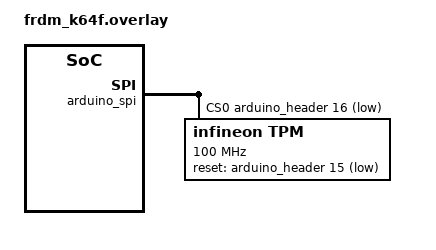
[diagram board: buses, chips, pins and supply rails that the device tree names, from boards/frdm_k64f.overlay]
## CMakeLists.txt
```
cmake_minimum_required(VERSION 3.13.1)

include($ENV{ZEPHYR_BASE}/cmake/app/boilerplate.cmake NO_POLICY_SCOPE)
project(zephyr-tpm2-poc)

target_sources(app PRIVATE
  src/main.c
)
```

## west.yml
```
manifest:
  remotes:
    - name: zephyrproject-rtos
      url-base: https://github.com/zephyrproject-rtos

    - name: anticat
      url-base: https://github.com/drandreas

    - name: tpm2-software
      url-base: https://github.com/tpm2-software

  projects:
    - name: cmsis
      remote: zephyrproject-rtos
      revision: c3bd2094f92d574377f7af2aec147ae181aa5f8e
      path: modules/hal/cmsis

    - name: hal_nxp
      remote: zephyrproject-rtos
      revision: b916bca1d5976b0157be80b326e3bb46ef605286
      path: modules/hal/nxp

    - name: segger
      remote: zephyrproject-rtos
      revision: 38c79a447e4a47d413b4e8d34448316a5cece77c
      path: modules/debug/segger

    - name: hal_nordic
      remote: zephyrproject-rtos
      revision: f0d54d8449acbee49b3cebcef0e3e56640c50277
      path: modules/hal/nordic

    - name: mbedtls
      remote: zephyrproject-rtos
      revision: 24d84ecff195fb15c889d9046e44e4804d626c67
      path: modules/crypto/mbedtls

    - name: zephyr
      remote: zephyrproject-rtos
      revision: 1a0156d68b6b2c6a12b10d81f5ab03c2bd4030fa
      path: zephyr
      west-commands: scripts/west-commands.yml

    - name: tpm-tis-spi
      remote: anticat
      revision: e633187983c8bb0ab4f07b6036c993a4ddb81176
      path: modules/drv/tpm-tis-spi

    - name: tpm2-tss
      remote: tpm2-software
      revision: a5c54dfb672f83ca2a61e1c6f96160eb7312b93d
      path: modules/lib/tpm2-tss/import

    - name: tpm2-tss-zephyr
      remote: anticat
      revision: fa28200056c595d32cf00ab1d184914b41faa103
      path: modules/lib/tpm2-tss

  self:
      path: zephyr-tpm2-poc
```

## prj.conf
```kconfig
# Enable general OS and libc features
CONFIG_NEWLIB_LIBC=y
CONFIG_CONSOLE=y
CONFIG_UART_CONSOLE=y
CONFIG_BUILD_OUTPUT_HEX=y

# Generic networking options
CONFIG_NETWORKING=y
CONFIG_NET_TCP=y
CONFIG_NET_SOCKETS=y

# Network buffers
CONFIG_NET_PKT_RX_COUNT=16
CONFIG_NET_PKT_TX_COUNT=16
CONFIG_NET_BUF_RX_COUNT=64
CONFIG_NET_BUF_TX_COUNT=64

# Enable TLS Secure Sockets
CONFIG_POSIX_MAX_FDS=8
CONFIG_NET_SOCKETS_POSIX_NAMES=y
CONFIG_NET_SOCKETS_SOCKOPT_TLS=y
CONFIG_NET_SOCKETS_TLS_MAX_CONTEXTS=2

# Enable TPM
CONFIG_SPI=y
CONFIG_TPM_TIS_SPI=y
CONFIG_TPM2_TSS_TCTI=y
CONFIG_TPM2_TSS_MU=y
CONFIG_TPM2_TSS_SAPI=y
CONFIG_TPM2_TSS_ESAPI=y

# Use TPM for ECDSA Server Authentication
CONFIG_MBEDTLS_ECDSA_ALT_TPM=y

# Enable Shell for Network access
CONFIG_SHELL=y
CONFIG_NET_SHELL=y

# Enable loging facility (be carefull space, exec time)
# Manual: https://docs.zephyrproject.org/latest/reference/logging/index.html
CONFIG_LOG=y
CONFIG_LOG_BUFFER_SIZE=4096
CONFIG_LOG_STRDUP_BUF_COUNT=32

# Increase stack size
CONFIG_MAIN_STACK_SIZE=8192
CONFIG_HW_STACK_PROTECTION=y

# Enable Crypto Libraries
CONFIG_MBEDTLS=y
CONFIG_MBEDTLS_ENTROPY_ENABLED=y
CONFIG_MBEDTLS_TLS_VERSION_1_2=y
CONFIG_MBEDTLS_KEY_EXCHANGE_ALL_ENABLED=y
CONFIG_MBEDTLS_ECP_ALL_ENABLED=y
CONFIG_MBEDTLS_CIPHER_ALL_ENABLED=y
CONFIG_MBEDTLS_MAC_ALL_ENABLED=y
CONFIG_MBEDTLS_PEM_CERTIFICATE_FORMAT=y
```

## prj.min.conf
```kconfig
# Enable general OS and libc features
CONFIG_NEWLIB_LIBC=y
CONFIG_CONSOLE=n
CONFIG_UART_CONSOLE=n
CONFIG_BUILD_OUTPUT_HEX=y

# Generic networking options
CONFIG_NETWORKING=y
CONFIG_NET_TCP=y
CONFIG_NET_SOCKETS=y

# Network buffers
CONFIG_NET_PKT_RX_COUNT=16
CONFIG_NET_PKT_TX_COUNT=16
CONFIG_NET_BUF_RX_COUNT=64
CONFIG_NET_BUF_TX_COUNT=64

# Enable TLS Secure Sockets
CONFIG_POSIX_MAX_FDS=8
CONFIG_NET_SOCKETS_POSIX_NAMES=y
CONFIG_NET_SOCKETS_SOCKOPT_TLS=y
CONFIG_NET_SOCKETS_TLS_MAX_CONTEXTS=2

# Enable TPM
CONFIG_SPI=y
CONFIG_TPM_TIS_SPI=y
CONFIG_TPM2_TSS_TCTI=y
CONFIG_TPM2_TSS_MU=y
CONFIG_TPM2_TSS_SAPI=y
CONFIG_TPM2_TSS_ESAPI=y

# Use TPM for ECDSA Server Authentication
CONFIG_MBEDTLS_ECDSA_ALT_TPM=y

# Increase stack size
CONFIG_MAIN_STACK_SIZE=8192
CONFIG_HW_STACK_PROTECTION=y

# Enable Crypto Libraries
CONFIG_MBEDTLS=y
CONFIG_MBEDTLS_ENTROPY_ENABLED=y
CONFIG_MBEDTLS_TLS_VERSION_1_2=y
CONFIG_MBEDTLS_KEY_EXCHANGE_ECDHE_ECDSA_ENABLED=y
CONFIG_MBEDTLS_ECP_ALL_ENABLED=y
CONFIG_MBEDTLS_PEM_CERTIFICATE_FORMAT=y
```

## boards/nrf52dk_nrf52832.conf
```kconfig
# NRF52832 has only 64 KiB of RAM
CONFIG_NET_PKT_RX_COUNT=4
CONFIG_NET_PKT_TX_COUNT=4
CONFIG_NET_BUF_RX_COUNT=16
CONFIG_NET_BUF_TX_COUNT=16

CONFIG_LOG_BUFFER_SIZE=1024
CONFIG_LOG_STRDUP_BUF_COUNT=4
```

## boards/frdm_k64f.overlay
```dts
// Resize storage to 64KiB
/delete-node/ &storage_partition;

&flash0 {
	partitions {
		storage_partition: partition@80000 {
			label = "storage";
			reg = <0x00080000 0x00080000>;
		};
	};
};

&arduino_spi {
	cs-gpios = <&arduino_header 16 GPIO_ACTIVE_LOW>;

	spi_tpm: tpm@0 {
		compatible = "infineon,tpm";
		reg = <0>;
		label = "tpm";
		spi-max-frequency = <100000000>;
		reset-gpios = <&arduino_header 15 GPIO_ACTIVE_LOW>;
	};
};
```

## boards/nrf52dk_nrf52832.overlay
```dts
&arduino_spi {
	cs-gpios = <&arduino_header 16 GPIO_ACTIVE_LOW>;

	spi_tpm: tpm@0 {
		compatible = "infineon,tpm";
		reg = <0>;
		label = "tpm";
		spi-max-frequency = <100000000>;
		reset-gpios = <&arduino_header 15 GPIO_ACTIVE_LOW>;
	};
};
```

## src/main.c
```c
#include <logging/log.h>
#include <random/rand32.h>

#if CONFIG_BOARD_FRDM_K64F
#include <fsl_port.h>
#include <drivers/pinmux.h>
#endif

#include <net/socket.h>
#include <net/tls_credentials.h>

#include <mbedtls/pem.h>
#include <mbedtls/x509_csr.h>
#include <mbedtls/tpm-utils.h>

#include <stdio.h>

// Loglevel of main function
LOG_MODULE_REGISTER(tpm2, LOG_LEVEL_DBG);

// Certificate and Key
#define SERVER_CERTIFICATE_TAG 1

static const char ca_certificate[] =
  "-----BEGIN CERTIFICATE-----\r\n"
  "MIIBqTCCAS+gAwIBAgIBADAKBggqhkjOPQQDAjAVMRMwEQYDVQQDDApUUE0tUG9D\r\n"
  "IENBMB4XDTIwMDEwMTAwMDAwMFoXDTMwMDEwMTAwMDAwMFowFTETMBEGA1UEAwwK\r\n"
  "VFBNLVBvQyBDQTB2MBAGByqGSM49AgEGBSuBBAAiA2IABD7i3xfIQVr9WEugrfXf\r\n"
  "DTJNzqwOLqZoPaEXiFGo9J1JDkHrMftJAv2KWhebATNYS9EzN8hffc0/fz+cv8qr\r\n"
  "pfFqu9J+eoGkax0lQS1dRR+I40X6QZ0c4+cuk6CGowiyVqNTMFEwHQYDVR0OBBYE\r\n"
  "FDFm5sVrTGo3eZQ9OjlU6qPZ1bIKMB8GA1UdIwQYMBaAFDFm5sVrTGo3eZQ9OjlU\r\n"
  "6qPZ1bIKMA8GA1UdEwEB/wQFMAMBAf8wCgYIKoZIzj0EAwIDaAAwZQIxAN5/2ZCM\r\n"
  "R7vurAPiQGkfE5o69yYClmHZbQHJyZF5afSf5OJhce04kCrUKtyQOcgYfQIwWqud\r\n"
  "9h7syP1e17rXfIK7nfrRdu4IZjdGyIcgu3rM2C4bBuoDcqxZbbSlHiZDmoX6\r\n"
  "-----END CERTIFICATE-----\r\n";

static const char server_certificate[] = "";

// This Private key is needed to make Zephyr's secure socket code happy
// The key can be arbitrary as long as it belongs to the P-256 curve.
static const char private_key[] =
  "-----BEGIN PRIVATE KEY-----\r\n"
  "MIGHAgEAMBMGByqGSM49AgEGCCqGSM49AwEHBG0wawIBAQQguFQIs7wj7F0TOF9p\r\n"
  "IjAO13TNoVz6uhgq7F0WBex6+yihRANCAASPpRIl7cNR85WpA1AELRhT7EhD3EU2\r\n"
  "9b8k9q2dwRbN6lXaf8YXvm0rTYWtHM25iaSA+oUtb6KwIzzDJiXMndKx\r\n"
  "-----END PRIVATE KEY-----\r\n";

static const char tpm_blob[] = "";

// Glue mbedTLS entropy source to K64 RNG (nxp,kinetis-rnga)
int mbedtls_hardware_poll(void *data, unsigned char *output, size_t len, size_t *olen ) {
  (void)data;
  *olen = 0;

  if(sys_csrand_get(output, len) != 0) {
    return -1;
  }

  *olen = len;
  return 0;
}

static int get_random(void* context, unsigned char *buffer, size_t buf_size) {
  (void)context;

  if(sys_csrand_get(buffer, buf_size) != 0) {
    return -EIO;
  }

  return buf_size;
}

#if CONFIG_BOARD_FRDM_K64F
// Change K64's CS-Pin to GPIO (SPI HW-CS releases pin to early)
static int pinmux_reconfigure(const struct device *dev) {
  pinmux_pin_set(device_get_binding(DT_LABEL(DT_NODELABEL(portd))),
                 DT_SPI_DEV_CS_GPIOS_PIN(DT_NODELABEL(spi_tpm)),
                 PORT_PCR_MUX(kPORT_MuxAsGpio));
  return 0;
}
SYS_INIT(pinmux_reconfigure, POST_KERNEL, CONFIG_KERNEL_INIT_PRIORITY_DEVICE);
#endif

static void setup() {
  int ret = 0;

  puts("Server CRT or TPM Blob not compiled in, Creating CSR");

  ret = tpm_generate_ec_keypair(tpm_get_ec_keypair_ptr());
  if(ret != 0) {
    LOG_ERR("Failed to generate ec keypair");
    return;
  }

  // Output TPM Blob
  char der_buf[512];
  size_t der_len = sizeof(der_buf);
  ret = tpm_store_keypair_der(tpm_get_ec_keypair_ptr(), der_buf, &der_len);
  if(ret < 0) {
    LOG_ERR("Failed to store ec keypair");
    return;
  }

  char pem_buf[512];
  memset(pem_buf, 0, sizeof(pem_buf));
  size_t pem_len = 0;
  char* p = &der_buf[0];
  ret = mbedtls_pem_write_buffer("-----BEGIN TSS2 PRIVATE KEY-----\n",
                                 "-----END TSS2 PRIVATE KEY-----\n",
                                 p, der_len,
                                 pem_buf, sizeof(pem_buf), &pem_len);
  if(ret != 0)
  {
    LOG_ERR("Failed to generate tpm data");
    return;
  }
  puts("Please change the source code and assign the PEM below to \"tpm_blob[]\"");
  puts(pem_buf);

  // Create and output CSR
  mbedtls_pk_context pk_ctx;
  mbedtls_pk_init(&pk_ctx);

  ret = tpm_export_pubkey(&tpm_get_ec_keypair_ptr()->pub_key, &pk_ctx);
  if(ret != 0) {
    LOG_ERR("Failed to export pubkey");
    return;
  }

  mbedtls_x509write_csr csr_ctx;
  mbedtls_x509write_csr_init(&csr_ctx);
  mbedtls_x509write_csr_set_key(&csr_ctx, &pk_ctx);
  mbedtls_x509write_csr_set_md_alg(&csr_ctx, MBEDTLS_MD_SHA256);

  ret = mbedtls_x509write_csr_set_subject_name(&csr_ctx, "CN=zephyr");
  if(ret != 0) {
    LOG_ERR("Failed to set subject name");
    return;
  }

  ret = mbedtls_x509write_csr_set_key_usage(&csr_ctx, MBEDTLS_X509_KU_DIGITAL_SIGNATURE
                                                    | MBEDTLS_X509_KU_NON_REPUDIATION
                                                    | MBEDTLS_X509_KU_KEY_AGREEMENT);
  if(ret != 0) {
    LOG_ERR("Failed to set key usage");
    return;
  }

  // Output CSR
  if(mbedtls_x509write_csr_pem(&csr_ctx,
                               &pem_buf[0],
                               sizeof(pem_buf),
                               get_random,
                               NULL) != 0)
  {
    LOG_ERR("Failed to generate csr");
    return;
  }

  puts("Please sign the PEM on your desktop and assign the certificate to \"server_certificate[]\"");
  puts("Hint: cd zephyr-tpm2-poc/data");
  puts("      openssl ca -config openssl.cnf -startdate 200101000000Z -enddate 300101000000Z -in /dev/stdin");
  puts(pem_buf);
  mbedtls_x509write_csr_free(&csr_ctx);
  mbedtls_pk_free(&pk_ctx);

  return;
}

static void run() {
  int ret = 0;

  // Load previously created TPM Blob
  // Note: The Blob  is compiled in - for the sake of simplicity, however the Blob is not interchangeable between TPMs
  LOG_INF("Preparing TPM Blob for echo_server...");
  struct mbedtls_pem_context pem;
  mbedtls_pem_init(&pem);
  size_t file_index = 0;
  ret = mbedtls_pem_read_buffer(&pem,
                                "-----BEGIN TSS2 PRIVATE KEY-----",
                                "-----END TSS2 PRIVATE KEY-----",
                                (const unsigned char*)tpm_blob,
                                NULL, 0,
                                &file_index);
  if(ret != 0) {
    LOG_ERR("Failed to read TPM blob");
    return;
  }

  ret = tpm_load_keypair_der(tpm_get_ec_keypair_ptr(), pem.buf, pem.buflen);
  if(ret != 0) {
    LOG_ERR("Failed to parse TPM blob");
    return;
  }
  mbedtls_pem_free(&pem);

  // "Wait" for Ethernet Link
  k_sleep(K_SECONDS(5));

  // Output IPv6 Address
  struct net_if* netif = net_if_get_default();
  if(netif == NULL) {
    LOG_ERR("Failed to get default netowrk interface");
    return;
  }
  struct net_if_ipv6 *ipv6 = netif->config.ip.ipv6;
  for (size_t i = 0; ipv6 && i < NET_IF_MAX_IPV6_ADDR; i++) {
    struct net_if_addr *addr = &ipv6->unicast[i];
    if(addr->is_used) {
      char buf[NET_IPV6_ADDR_LEN];
      net_addr_ntop(AF_INET6, &addr->address.in6_addr, buf, NET_IPV6_ADDR_LEN);
      LOG_INF("My IPv6 Address: [%s]", log_strdup(buf));
    }
  }

  // Load Certificates and Private Key
  ret = tls_credential_add(SERVER_CERTIFICATE_TAG,
                           TLS_CREDENTIAL_CA_CERTIFICATE,
                           ca_certificate,
                           sizeof(ca_certificate));
  if(ret < 0) {
    LOG_ERR("Failed to register ca certificate");
    return;
  }

  ret = tls_credential_add(SERVER_CERTIFICATE_TAG,
                           TLS_CREDENTIAL_SERVER_CERTIFICATE,
                           server_certificate,
                           sizeof(server_certificate));
  if(ret < 0) {
    LOG_ERR("Failed to register server certificate");
    return;
  }

  ret = tls_credential_add(SERVER_CERTIFICATE_TAG,
                           TLS_CREDENTIAL_PRIVATE_KEY,
                           private_key, sizeof(private_key));
  if(ret < 0) {
    LOG_ERR("Failed to register private key");
    return;
  }

  // Create Secure Socket
  int sock = socket(AF_INET6, SOCK_STREAM, IPPROTO_TLS_1_2);
  if(sock < 0) {
    LOG_ERR("Failed to create TCP socket");
    return;
  }

  sec_tag_t sec_tag_list[] = {
    SERVER_CERTIFICATE_TAG,
  };

  ret = setsockopt(sock,
                   SOL_TLS,
                   TLS_SEC_TAG_LIST,
                   sec_tag_list,
                   sizeof(sec_tag_list));
  if (ret < 0) {
    LOG_ERR("Failed to set TCP secure option");
    return;
  }

  struct sockaddr_in6 addr6;
  (void)memset(&addr6, 0, sizeof(addr6));
  addr6.sin6_family = AF_INET6;
  addr6.sin6_port = htons(4433);
  ret = bind(sock, (struct sockaddr *)&addr6, sizeof(addr6));
  if (ret < 0) {
    LOG_ERR("Failed to bind TCP socket");
    return;
  }

  ret = listen(sock, 4);
  if (ret < 0) {
    LOG_ERR("Failed to listen on TCP socket");
    return;
  }

  // Serve Socket
  while(true) {
    LOG_INF("Waiting for TCP connection on port 4433");
    struct sockaddr_in client_addr;
    socklen_t client_addr_len = sizeof(client_addr);
    int client = accept(sock, (struct sockaddr *)&client_addr, &client_addr_len);
    if (client < 0) {
      LOG_ERR("Failed to accept client");
      continue;
    }

    // Serve Client
    while(true) {
      char buf[80];
      int len = recv(client, buf, sizeof(buf), 0);
      if (len == 0) {
        LOG_INF("Received connection close");
        close(client);
        break;
      } else
      if (len < 0) {
        LOG_ERR("Faild to receive data");
        break;
      } else {
        LOG_INF("Received %i bytes", len);
        send(client, buf, len, 0);
      }
    }
  }

  // Cleanup
  close(sock);
  tls_credential_delete(SERVER_CERTIFICATE_TAG, TLS_CREDENTIAL_CA_CERTIFICATE);
  tls_credential_delete(SERVER_CERTIFICATE_TAG, TLS_CREDENTIAL_SERVER_CERTIFICATE);
  tls_credential_delete(SERVER_CERTIFICATE_TAG, TLS_CREDENTIAL_PRIVATE_KEY);

  return;
}

void main() {
  if(strlen(server_certificate) == 0 || strlen(tpm_blob) == 0) {
    setup();
  } else {
    run();
  }

  // Keep thread alive so stack size can be measured
  while(true) {
    k_sleep(K_SECONDS(5));
  }
}
```
